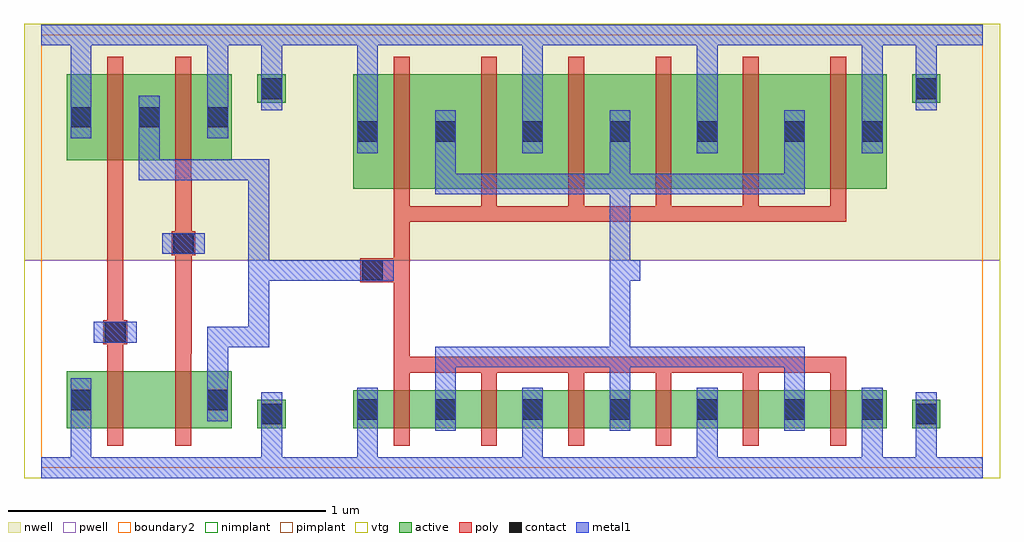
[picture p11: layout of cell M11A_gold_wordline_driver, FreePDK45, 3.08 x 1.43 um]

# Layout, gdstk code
import gdstk
lib = gdstk.Library(unit=1e-6, precision=1e-09)
def R(c, l, rs):  # rectangles x0, y0, x1, y1
    for r in rs: c.add(gdstk.rectangle(r[:2], r[2:], *l))
def A(c, l, x, y, w, h, nx, ny, dx, dy):  # array of equal rectangles
    R(c, l, [(x+i*dx, y+j*dy, x+i*dx+w, y+j*dy+h) for i in range(nx) for j in range(ny)])
active = (1, 0)
pwell = (2, 0)
nwell = (3, 0)
nimplant = (4, 0)
pimplant = (5, 0)
vtg = (6, 0)
poly = (9, 0)
contact = (10, 0)
metal1 = (11, 0)
boundary2 = (239, 0)

m11a_gold_wordline_drive = lib.new_cell('M11A_gold_wordline_driver')
R(m11a_gold_wordline_drive, active, [(0.08,0.125,0.385,0.305), (0.295,0.125,0.6,0.305), (0.68,0.125,0.77,0.215), (0.982,0.125,2.663,0.245), (2.743,0.125,2.832,0.215), (0.982,0.14,1.073,0.23), (1.228,0.14,1.317,0.23), (1.502,0.14,1.592,0.23), (1.777,0.14,1.867,0.23), (2.053,0.14,2.143,0.23), (2.328,0.14,2.417,0.23), (2.573,0.14,2.663,0.23), (0.08,0.17,0.17,0.26), (0.295,0.17,0.385,0.26), (0.295,0.17,0.385,0.26), (0.51,0.17,0.6,0.26), (0.982,0.88,2.663,1.24), (0.08,0.97,0.385,1.24), (0.295,0.97,0.6,1.24), (0.982,1.015,1.073,1.105), (1.228,1.015,1.317,1.105), (1.502,1.015,1.592,1.105), (1.777,1.015,1.867,1.105), (2.053,1.015,2.143,1.105), (2.328,1.015,2.417,1.105), (2.573,1.015,2.663,1.105), (0.08,1.06,0.17,1.15), (0.295,1.06,0.385,1.15), (0.295,1.06,0.385,1.15), (0.51,1.06,0.6,1.15), (0.68,1.15,0.77,1.24), (2.743,1.15,2.832,1.24)])
R(m11a_gold_wordline_drive, pwell, [(-0.055,-0.033,0.957,0.655), (0.847,-0.033,3.02,0.655), (0,0.045,0.465,0.385), (0.215,0.045,0.68,0.385), (0.902,0.045,2.743,0.325), (0.625,0.07,0.825,0.27), (2.687,0.07,2.888,0.27), (0.927,0.085,1.127,0.285), (1.172,0.085,1.373,0.285), (1.447,0.085,1.647,0.285), (1.722,0.085,1.922,0.285), (1.997,0.085,2.198,0.285), (2.272,0.085,2.473,0.285), (2.518,0.085,2.718,0.285), (0.025,0.115,0.225,0.315), (0.455,0.115,0.655,0.315)])
R(m11a_gold_wordline_drive, nwell, [(-0.055,0.655,0.957,1.4), (0.847,0.655,3.02,1.4), (0.902,0.8,2.743,1.32), (0,0.89,0.465,1.32), (0.215,0.89,0.68,1.32), (0.927,0.96,1.127,1.16), (1.172,0.96,1.373,1.16), (1.447,0.96,1.647,1.16), (1.722,0.96,1.922,1.16), (1.997,0.96,2.198,1.16), (2.272,0.96,2.473,1.16), (2.518,0.96,2.718,1.16), (0.025,1.005,0.225,1.205), (0.24,1.005,0.44,1.205), (0.24,1.005,0.44,1.205), (0.455,1.005,0.655,1.205), (0.625,1.095,0.825,1.295), (2.687,1.095,2.888,1.295)])
R(m11a_gold_wordline_drive, nimplant, [(0.08,0.125,0.385,0.305), (0.295,0.125,0.6,0.305), (0.982,0.125,2.663,0.245), (0.982,0.14,1.073,0.23), (1.228,0.14,1.317,0.23), (1.502,0.14,1.592,0.23), (1.777,0.14,1.867,0.23), (2.053,0.14,2.143,0.23), (2.328,0.14,2.417,0.23), (2.573,0.14,2.663,0.23), (0.08,0.17,0.17,0.26), (0.51,0.17,0.6,0.26), (0.68,1.15,0.77,1.24), (2.743,1.15,2.832,1.24)])
R(m11a_gold_wordline_drive, pimplant, [(0.68,0.125,0.77,0.215), (2.743,0.125,2.832,0.215), (0.982,0.88,2.663,1.24), (0.08,0.97,0.385,1.24), (0.295,0.97,0.6,1.24), (0.982,1.015,1.073,1.105), (1.228,1.015,1.317,1.105), (1.502,1.015,1.592,1.105), (1.777,1.015,1.867,1.105), (2.053,1.015,2.143,1.105), (2.328,1.015,2.417,1.105), (2.573,1.015,2.663,1.105), (0.08,1.06,0.17,1.15), (0.295,1.06,0.385,1.15), (0.295,1.06,0.385,1.15), (0.51,1.06,0.6,1.15)])
R(m11a_gold_wordline_drive, vtg, [(-0.055,-0.033,0.957,0.655), (0.847,-0.033,3.02,0.655), (0,0.045,0.465,0.385), (0.215,0.045,0.68,0.385), (0.902,0.045,2.743,0.325), (-0.055,0.655,0.957,1.4), (0.847,0.655,3.02,1.4), (0.902,0.8,2.743,1.32), (0,0.89,0.465,1.32), (0.215,0.89,0.68,1.32)])
A(m11a_gold_wordline_drive, poly, 1.11, 0.07, 0.05, 0.23, 6, 1, 0.275, 0)
A(m11a_gold_wordline_drive, poly, 1.11, 0.825, 0.05, 0.47, 6, 1, 0.275, 0)
R(m11a_gold_wordline_drive, poly, [(0.208,0.07,0.258,0.36), (0.208,0.07,0.258,0.36), (0.422,0.07,0.472,0.36), (0.422,0.07,0.472,0.36), (1.11,0.3,2.535,0.35), (1.11,0.35,1.16,0.775), (0.208,0.36,0.258,0.915), (0.422,0.36,0.473,0.915), (0.195,0.39,0.27,0.465), (0.208,0.39,0.232,0.465), (1.005,0.585,1.08,0.66), (1.042,0.585,1.11,0.66), (0.41,0.67,0.485,0.745), (0.422,0.67,0.447,0.745), (1.11,0.775,2.535,0.825), (0.208,0.915,0.258,1.295), (0.208,0.915,0.258,1.295), (0.422,0.915,0.472,1.295), (0.422,0.915,0.472,1.295)])
A(m11a_gold_wordline_drive, contact, 1.24, 0.152, 0.065, 0.065, 5, 2, 0.275, 0.876)
R(m11a_gold_wordline_drive, contact, [(0.692,0.138,0.758,0.203), (2.755,0.138,2.82,0.203), (0.995,0.152,1.06,0.217), (2.585,0.152,2.65,0.217), (0.092,0.182,0.157,0.247), (0.522,0.182,0.587,0.247), (0.2,0.395,0.265,0.46), (1.01,0.59,1.075,0.655), (0.415,0.675,0.48,0.74), (0.995,1.028,1.06,1.093), (2.585,1.028,2.65,1.093), (0.092,1.073,0.157,1.137), (0.307,1.073,0.372,1.137), (0.307,1.073,0.372,1.137), (0.522,1.073,0.587,1.137), (0.692,1.162,0.758,1.228), (2.755,1.162,2.82,1.228)])
A(m11a_gold_wordline_drive, metal1, 1.515, 0.117, 0.065, 0.135, 3, 2, 0.275, 0.875)
A(m11a_gold_wordline_drive, metal1, 1.24, 0.185, 0.065, 0.165, 3, 2, 0.55, 0.71)
R(m11a_gold_wordline_drive, metal1, [(0,-0.033,2.965,0.033), (0,-0.033,0.902,0.033), (0.092,-0.033,0.157,0.147), (0.902,-0.033,2.965,0.033), (0.995,-0.033,1.06,0.118), (1.515,-0.033,1.58,0.118), (2.065,-0.033,2.13,0.118), (2.585,-0.033,2.65,0.118), (0.692,0,0.758,0.17), (2.755,0,2.82,0.17), (0.692,0.103,0.758,0.238), (2.755,0.103,2.82,0.238), (0.995,0.117,1.06,0.252), (0.995,0.117,1.06,0.252), (1.24,0.117,1.305,0.252), (1.515,0.117,1.58,0.252), (2.065,0.117,2.13,0.252), (2.34,0.117,2.405,0.252), (2.585,0.117,2.65,0.252), (2.585,0.117,2.65,0.252), (0.092,0.147,0.157,0.282), (0.092,0.147,0.157,0.282), (0.522,0.147,0.587,0.282), (0.522,0.147,0.587,0.282), (0.522,0.283,0.588,0.413), (1.24,0.317,2.405,0.382), (1.79,0.317,1.855,0.927), (0.522,0.38,0.588,0.445), (0.555,0.38,0.685,0.445), (0.652,0.38,0.718,0.445), (0.165,0.395,0.3,0.46), (0.165,0.395,0.3,0.46), (0.165,0.395,0.3,0.46), (0.652,0.413,0.718,0.94), (0.652,0.59,0.718,0.655), (0.685,0.59,1.042,0.655), (0.975,0.59,1.11,0.655), (0.975,0.59,1.11,0.655), (1.822,0.59,1.887,0.655), (1.822,0.59,1.887,0.655), (0.652,0.623,0.718,0.94), (0.38,0.675,0.515,0.74), (0.38,0.675,0.515,0.74), (0.38,0.675,0.515,0.74), (1.24,0.863,2.405,0.927), (0.307,0.907,0.372,0.972), (0.34,0.907,0.685,0.972), (0.652,0.907,0.718,0.972), (0.307,0.94,0.372,1.038), (0.995,0.992,1.06,1.127), (0.995,0.992,1.06,1.127), (0.995,0.992,1.06,1.397), (1.24,0.992,1.305,1.127), (1.515,0.992,1.58,1.127), (1.515,0.992,1.58,1.397), (2.065,0.992,2.13,1.127), (2.065,0.992,2.13,1.397), (2.34,0.992,2.405,1.127), (2.585,0.992,2.65,1.127), (2.585,0.992,2.65,1.127), (2.585,0.992,2.65,1.397), (0.092,1.038,0.157,1.397), (0.092,1.038,0.157,1.172), (0.092,1.038,0.157,1.172), (0.307,1.038,0.372,1.172), (0.307,1.038,0.372,1.172), (0.307,1.038,0.372,1.172), (0.307,1.038,0.372,1.172), (0.522,1.038,0.588,1.397), (0.522,1.038,0.587,1.172), (0.522,1.038,0.587,1.172), (0.692,1.127,0.758,1.262), (2.755,1.127,2.82,1.262), (0.692,1.195,0.758,1.365), (2.755,1.195,2.82,1.365), (0,1.332,2.965,1.397), (0,1.332,0.902,1.397), (0.902,1.332,2.965,1.397)])
R(m11a_gold_wordline_drive, boundary2, [(0,0,2.965,1.365), (0,0,0.902,1.365), (0,0,0.902,1.365), (0.902,0,2.965,1.365), (0.902,0,2.965,1.365), (0,0.045,0.465,0.385), (0.215,0.045,0.68,0.385), (0.902,0.045,2.743,0.382), (0.625,0.07,0.825,0.27), (2.687,0.07,2.888,0.27), (0.927,0.085,1.127,0.285), (1.172,0.085,1.373,0.285), (1.447,0.085,1.647,0.285), (1.722,0.085,1.922,0.285), (1.997,0.085,2.198,0.285), (2.272,0.085,2.473,0.285), (2.518,0.085,2.718,0.285), (0.025,0.115,0.225,0.315), (0.455,0.115,0.655,0.315), (0.165,0.39,0.3,0.465), (0.975,0.585,1.11,0.66), (0.38,0.67,0.515,0.745), (0.902,0.775,2.743,1.32), (0,0.89,0.465,1.32), (0.215,0.89,0.68,1.32), (0.927,0.96,1.127,1.16), (1.172,0.96,1.373,1.16), (1.447,0.96,1.647,1.16), (1.722,0.96,1.922,1.16), (1.997,0.96,2.198,1.16), (2.272,0.96,2.473,1.16), (2.518,0.96,2.718,1.16), (0.025,1.005,0.225,1.205), (0.24,1.005,0.44,1.205), (0.24,1.005,0.44,1.205), (0.455,1.005,0.655,1.205), (0.625,1.095,0.825,1.295), (2.687,1.095,2.888,1.295)])

lib.write_gds('M11A_gold_wordline_driver.gds')
